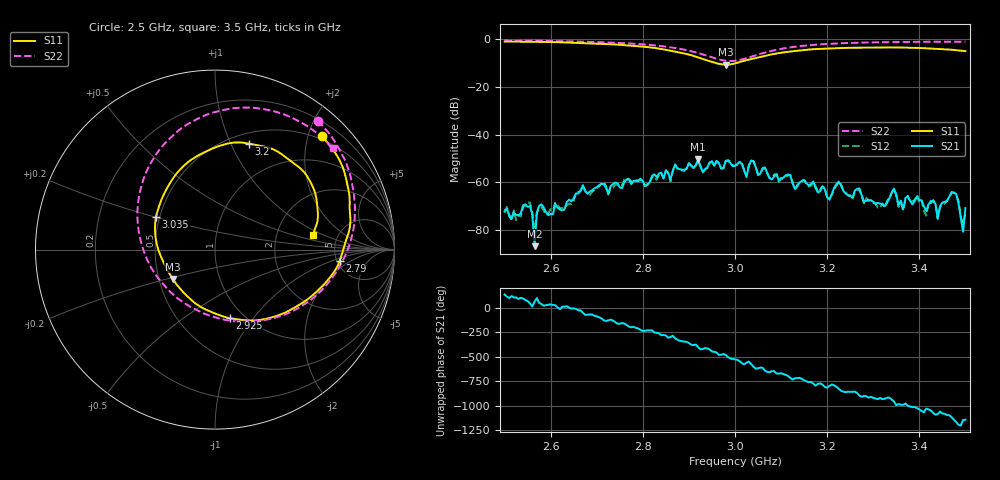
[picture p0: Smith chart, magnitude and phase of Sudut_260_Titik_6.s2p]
# Hz S RI R 50
! CMT, C1220, 16058040, 17.2.0/1
! Date: 15/08/2018 10:19:15
! Data: Format (Calibration Info)
! Freq  S11: Re/Im (F2)  S21: Re/Im (F2)  S12: Re/Im (F2)  S22: Re/Im (F2)
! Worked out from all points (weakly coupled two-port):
!   201 points, 2.5 GHz to 3.5 GHz, reference 50 ohm
!   highest |S21| = -50.43 dB at 2.92 GHz (marker M1); lowest = -86.6 dB at 2.565 GHz (marker M2)
!   lowest |S11| = -10.8 dB at 2.98 GHz (marker M3), VSWR 1.80, Z = 29.5 - j10.5 ohm
!   |S11| at or under -10 dB: 2.956 GHz to 3.005 GHz (49.69 MHz wide, 1.67 % of centre)
!   |S22| runs from -9.3 to -0.7 dB; largest |S21 - S12| = 0.00023
!   S11 on the Smith chart (normalised r, x): 2.5 GHz: 0.43, +2.24; 2.79 GHz: 5.27, -1.32; 2.925 GHz: 0.86, -0.77; 3.035 GHz: 0.48, +0.20; 3.2 GHz: 0.61, +1.18; 3.5 GHz: 3.25, +0.75
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2.5e9  0.5965 0.6349  -0.000178 0.000168  -0.000203 0.000155  0.5733 0.7171
2.555e9  0.6549 0.5576  0.000214 0.000233  0.000267 0.000267  0.6349 0.6488
2.565e9  0.667 0.5419  2.05e-05 4.2e-05  5.18e-05 6.54e-05  0.6457 0.6341
2.575e9  0.6792 0.5242  0.0002 0.000256  0.000182 0.000201  0.6564 0.6184
2.67e9  0.7472 0.3157  0.000572 -0.000661  0.000521 -0.00065  0.7445 0.4431
2.79e9  0.6944 -0.0643  -0.000952 0.000558  -0.000862 0.000623  0.7681 0.0981
2.835e9  0.5791 -0.222  -0.000281 0.00151  -0.000368 0.00139  0.7041 -0.0757
2.92e9  0.1169 -0.3874  0.00228 -0.00197  0.00216 -0.00187  0.3262 -0.3817
2.925e9  0.0821 -0.3828  0.000995 -0.00196  0.00103 -0.00188  0.2903 -0.3899
2.98e9  -0.236 -0.1631  -0.00147 -0.00243  -0.00132 -0.00242  -0.1402 -0.317
3e9  -0.3026 -0.0355  -0.00215 -0.000566  -0.00217 -0.000522  -0.2763 -0.2066
3.035e9  -0.3292 0.1821  -0.00234 0.00164  -0.00233 0.00165  -0.4155 0.0545
3.17e9  0.0948 0.595  0.00063 -0.000831  0.000665 -0.000755  -0.0753 0.7391
3.2e9  0.19 0.5905  -3.62e-05 -0.00049  -1.93e-05 -0.000482  0.0357 0.7745
3.225e9  0.2652 0.5763  -0.000269 -0.00101  -0.000272 -0.000989  0.1194 0.7893
3.335e9  0.494 0.4344  -0.000445 0.000137  -0.000426 0.000211  0.4084 0.7437
3.415e9  0.5659 0.2765  0.00016 0.000197  0.000146 0.000141  0.5486 0.6639
3.43e9  0.5704 0.2391  0.000396 5.08e-05  0.000425 1.46e-05  0.5704 0.6477
3.44e9  0.5721 0.2148  0.000175 -1.37e-05  0.000168 -4.14e-05  0.5849 0.6352
3.475e9  0.5652 0.1376  0.00029 -0.000543  0.000238 -0.000563  0.6271 0.5952
3.495e9  0.5491 0.0918  3.79e-05 -8.51e-05  5.39e-05 -0.000126  0.6505 0.5705
3.5e9  0.544 0.0803  0.000137 -0.000257  8.42e-05 -0.000211  0.6558 0.5646
